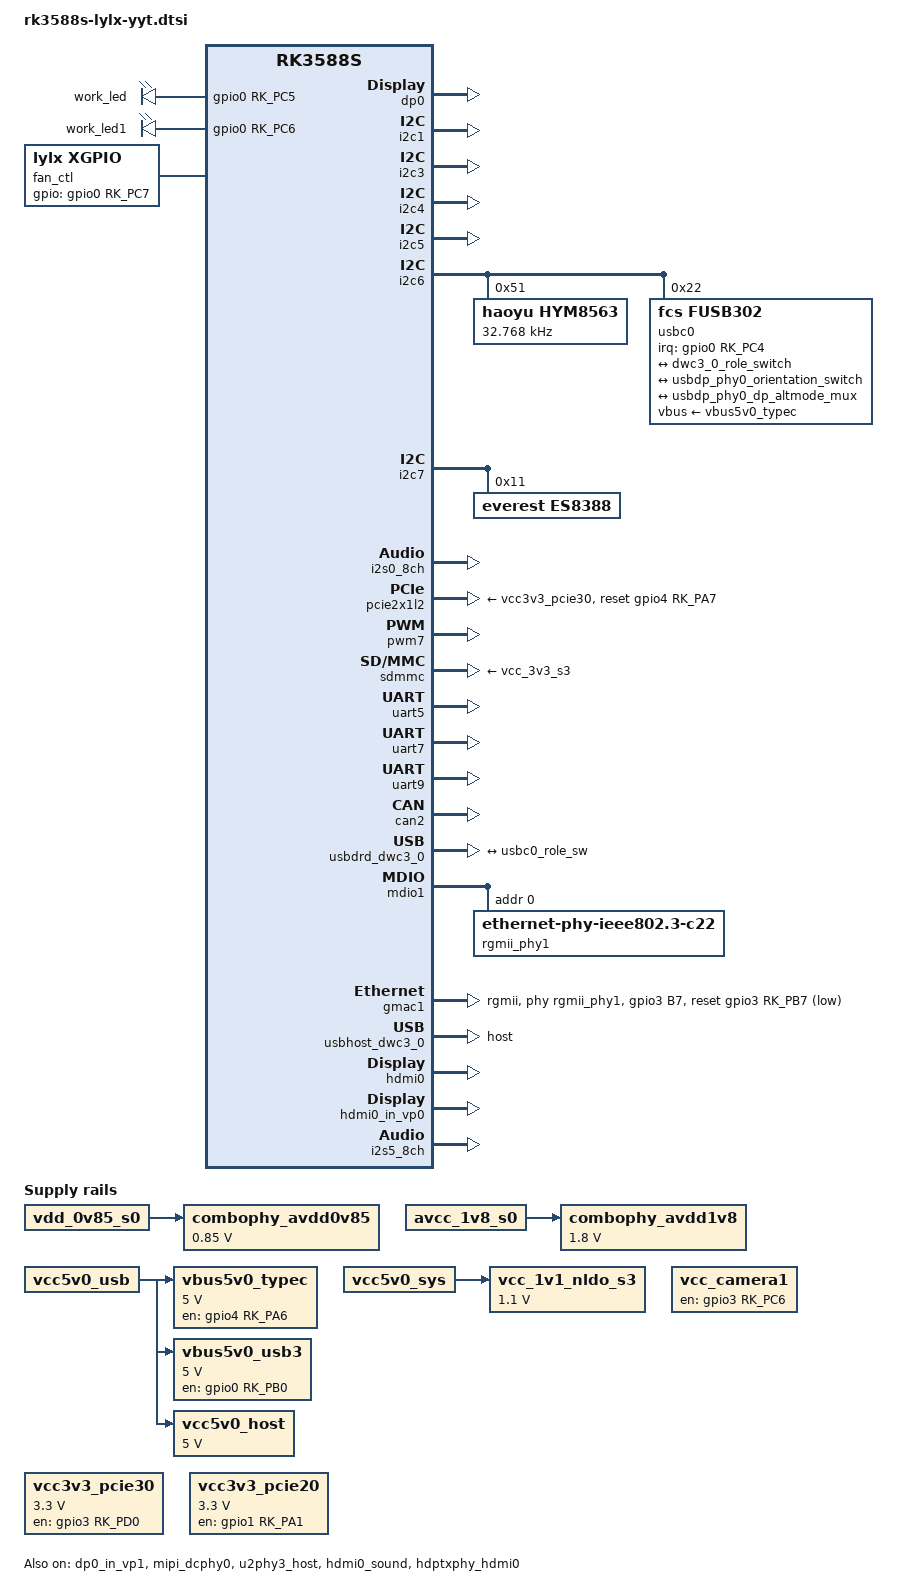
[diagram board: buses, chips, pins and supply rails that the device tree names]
// SPDX-License-Identifier: (GPL-2.0+ OR MIT)
/*
 * Copyright (c) 2021 Rockchip Electronics Co., Ltd.
 *
 */

#include "dt-bindings/usb/pd.h"
#include "rk3588s.dtsi"
#include "rk3588s-lylx-base.dtsi"
#include "rk3588s-lylx-rk806-single.dtsi"
//#include "rk3588s-vp3-mipi-dsi0-1024x768.dtsi"
#include "rk3588s-vp2-mipi-dsi1-1024x768.dtsi"
#include "rk3588s-YYT-camera.dtsi"
//#include "rk3588-rk628-hdmi2csi.dtsi"

#define USBHOST3_0 1


/ {
	vcc_camera1: vcc-camera1-regulator {
        compatible = "regulator-fixed";
        gpio = <&gpio3 RK_PC6 GPIO_ACTIVE_HIGH>;
        pinctrl-names = "default";
        pinctrl-0 = <&camera1_pwr>;
        regulator-name = "vcc_camera1";
        enable-active-high;
        regulator-always-on;
        regulator-boot-on;
        status = "okay";
    };

	combophy_avdd0v85: combophy-avdd0v85 {
		compatible = "regulator-fixed";
		regulator-name = "combophy_avdd0v85";
		regulator-boot-on;
		regulator-always-on;
		regulator-min-microvolt = <850000>;
		regulator-max-microvolt = <850000>;
		vin-supply = <&vdd_0v85_s0>;
	};

	combophy_avdd1v8: combophy-avdd1v8 {
		compatible = "regulator-fixed";
		regulator-name = "combophy_avdd1v8";
		regulator-boot-on;
		regulator-always-on;
		regulator-min-microvolt = <1800000>;
		regulator-max-microvolt = <1800000>;
		vin-supply = <&avcc_1v8_s0>;
	};

	es8388_sound: es8388-sound {
		status = "okay";
		compatible = "rockchip,multicodecs-card";
		rockchip,card-name = "rockchip,es8388-codec";
		//hp-det-gpio = <&gpio1 RK_PC0 GPIO_ACTIVE_HIGH>;
		//io-channels = <&saradc 3>;
		//io-channel-names = "adc-detect";
		//keyup-threshold-microvolt = <1800000>;
		//poll-interval = <100>;
		//spk-con-gpio = <&gpio4 RK_PA2 GPIO_ACTIVE_HIGH>;
		//hp-con-gpio = <&gpio4 RK_PA4 GPIO_ACTIVE_HIGH>;
		rockchip,format = "i2s";
		rockchip,mclk-fs = <256>;
		rockchip,cpu = <&i2s0_8ch>;
		rockchip,codec = <&es8388>;
		rockchip,audio-routing =
			"Headphone", "LOUT1",
			"Headphone", "ROUT1",
			"Speaker", "LOUT1",
			"Speaker", "ROUT1",
			"Headphone", "Headphone Power",
			"Headphone", "Headphone Power",
			"Speaker", "Speaker Power",
			"Speaker", "Speaker Power",
			"LINPUT1", "Main Mic",
			"LINPUT2", "Main Mic",
			"RINPUT1", "Main Mic",
			"RINPUT2", "Main Mic";
		/*
		pinctrl-names = "default";
		pinctrl-0 = <&hp_det>;
		
		play-pause-key {
			label = "playpause";
			linux,code = <KEY_PLAYPAUSE>;
			press-threshold-microvolt = <2000>;
		};
		*/
	};

	vbus5v0_typec: vbus5v0-typec {
		compatible = "regulator-fixed";
		regulator-name = "vbus5v0_typec";
		regulator-min-microvolt = <5000000>;
		regulator-max-microvolt = <5000000>;
		enable-active-high;
		gpio = <&gpio4 RK_PA6 GPIO_ACTIVE_HIGH>;
		vin-supply = <&vcc5v0_usb>;
		pinctrl-names = "default";
		pinctrl-0 = <&typec5v_pwren>;
	};

	vbus5v0_usb3: vbus5v0-usb3 {
		compatible = "regulator-fixed";
		regulator-name = "vbus5v0_usb3";
		regulator-min-microvolt = <5000000>;
		regulator-max-microvolt = <5000000>;
		enable-active-high;
		gpio = <&gpio0 RK_PB0 GPIO_ACTIVE_HIGH>;
		vin-supply = <&vcc5v0_usb>;
		pinctrl-names = "default";
		pinctrl-0 = <&usb3_5v_pwren>;
	};

	vcc5v0_host: vcc5v0-host {
		compatible = "regulator-fixed";
		regulator-name = "vcc5v0_host";
		regulator-boot-on;
		regulator-always-on;
		regulator-min-microvolt = <5000000>;
		regulator-max-microvolt = <5000000>;
		vin-supply = <&vcc5v0_usb>;
	};

	vcc_1v1_nldo_s3: vcc-1v1-nldo-s3 {
		compatible = "regulator-fixed";
		regulator-name = "vcc_1v1_nldo_s3";
		regulator-always-on;
		regulator-boot-on;
		regulator-min-microvolt = <1100000>;
		regulator-max-microvolt = <1100000>;
		vin-supply = <&vcc5v0_sys>;
	};
	
	vcc3v3_pcie30:vcc3v3-pcie30{
		compatible = "regulator-fixed";
		regulator-name = "vcc3v3_pcie30";
		enable-active-high;
		regulator-min-microvolt = <3300000>;
		regulator-max-microvolt = <3300000>;
		gpios = <&gpio3 RK_PD0 GPIO_ACTIVE_HIGH>;
		startup-delay-us = <5000>;
	};

	vcc3v3_pcie20:vcc3v3-pcie20{
		compatible = "regulator-fixed";
		regulator-name = "vcc3v3_pcie20";
		enable-active-high;
		regulator-min-microvolt = <3300000>;
		regulator-max-microvolt = <3300000>;
		gpios = <&gpio1 RK_PA1 GPIO_ACTIVE_HIGH>;
		startup-delay-us = <5000>;
	};
#if 0
	vcc_3v3_sd_s0: vcc-3v3-sd-s0 {
		compatible = "regulator-fixed";
		regulator-name = "vcc_3v3_sd_s0";
		regulator-min-microvolt = <3300000>;
		regulator-max-microvolt = <3300000>;
		gpios = <&gpio0 RK_PD4 GPIO_ACTIVE_LOW>;
		enable-active-low;
		vin-supply = <&vcc_3v3_s3>;
			regulator-state-mem {
			regulator-off-in-suspend;
		};
	};
#endif
	wireless_wlan: wireless-wlan {
		compatible = "wlan-platdata";
		wifi_chip_type = "rtl8822ce";
		status = "okay";
    };

    leds: leds {
        compatible = "gpio-leds";
        pinctrl-names = "default";
        pinctrl-0 = <&leds_pinctrl>;
        work_led: work {
            gpios = <&gpio0 RK_PC5 GPIO_ACTIVE_HIGH>;
            linux,default-trigger = "heartbeat";
        };
        work_led1:work1{
            gpios = <&gpio0 RK_PC6 GPIO_ACTIVE_HIGH>;
            linux,default-trigger = "heartbeat";
        };
    };

    fan_ctl{
        compatible = "lylx,xgpio";
        pinctrl-names = "default";
        pinctrl-0 = <&fan_gpio>;
        gpio = <&gpio0 RK_PC7 GPIO_ACTIVE_HIGH>;
        def_val = <1>;
        status = "okay";
    };
};

&dp0 {
	status = "okay";
};

&dp0_in_vp1 {
	status = "okay";
};

&i2c1{
	status = "okay";
	pinctrl-names = "default";
	pinctrl-0 = <&i2c1m4_xfer>;
};

&i2c3 {
	status = "okay";
	pinctrl-names = "default";
	pinctrl-0 = <&i2c3m2_xfer>;
};


&i2c4 {
        status = "okay";
        pinctrl-names = "default";
        pinctrl-0 = <&i2c4m3_xfer>;
};

&i2c5 {
    status = "okay";
    pinctrl-names = "default";
    pinctrl-0 = <&i2c5m3_xfer>;
};


&i2c6 {
        status = "okay";
        pinctrl-names = "default";
        pinctrl-0 = <&i2c6m3_xfer>;

        hym8563: hym8563@51 {
                compatible = "haoyu,hym8563";
                reg = <0x51>;
                #clock-cells = <0>;
                clock-frequency = <32768>;
                clock-output-names = "hym8563";
                status = "okay";
        };
        usbc0: fusb302@22 {
                compatible = "fcs,fusb302";
                reg = <0x22>;
                interrupt-parent = <&gpio0>;
                interrupts = <RK_PC4 IRQ_TYPE_LEVEL_LOW>;
                pinctrl-names = "default";
                pinctrl-0 = <&usbc0_int>;
                vbus-supply = <&vbus5v0_typec>;
                status = "okay";

            ports {
                    #address-cells = <1>;
                    #size-cells = <0>;

                    port@0 {
                            reg = <0>;
                            usbc0_role_sw: endpoint@0 {
                                    remote-endpoint = <&dwc3_0_role_switch>;
                            };
                    };
            };

            usb_con: connector {
                    compatible = "usb-c-connector";
                    label = "USB-C";
                    data-role = "dual";
                    power-role = "dual";
                    try-power-role = "sink";
                    op-sink-microwatt = <1000000>;
                    sink-pdos =
                            <PDO_FIXED(5000, 1000, PDO_FIXED_USB_COMM)>;
                    source-pdos =
                            <PDO_FIXED(5000, 3000, PDO_FIXED_USB_COMM)>;

                    altmodes {
                            #address-cells = <1>;
                            #size-cells = <0>;

                            altmode@0 {
                                    reg = <0>;
                                    svid = <0xff01>;
                                    vdo = <0xffffffff>;
                            };
                    };

                    ports {
                            #address-cells = <1>;
                            #size-cells = <0>;

                            port@0 {
                                    reg = <0>;
                                    usbc0_orien_sw: endpoint {
                                            remote-endpoint = <&usbdp_phy0_orientation_switch>;
                                    };
                            };

                            port@1 {
                                    reg = <1>;
                                    dp_altmode_mux: endpoint {
                                            remote-endpoint = <&usbdp_phy0_dp_altmode_mux>;
                                    };
                            };
                    };
            };
    };
};

&i2c7 {
	status = "okay";
	pinctrl-names = "default";
	pinctrl-0 = <&i2c7m0_xfer>;

	es8388: es8388@11 {
		status = "okay";
		#sound-dai-cells = <0>;
		compatible = "everest,es8388", "everest,es8323";
		reg = <0x11>;
		clocks = <&cru I2S0_8CH_MCLKOUT>;
		clock-names = "mclk";
		assigned-clocks = <&cru I2S0_8CH_MCLKOUT>;
		assigned-clock-rates = <12288000>;
		pinctrl-names = "default";
		pinctrl-0 = <&i2s0_mclk>;
	};
};

&mipi_dcphy0 {
	status = "okay";
};

&i2s0_8ch {
	status = "okay";
	rockchip,clk-trcm = <1>;
	pinctrl-0 = <&i2s0_lrck
		     &i2s0_sclk
		     &i2s0_sdi0
		     &i2s0_sdo0>;
};

&pcie2x1l2 {
	reset-gpios = <&gpio4 RK_PA7 GPIO_ACTIVE_HIGH>;
	vpcie3v3-supply = <&vcc3v3_pcie30>;
	rockchip,skip-scan-in-resume;
	status = "okay";
};

&pinctrl {

	headphone {
		hp_det: hp-det {
			rockchip,pins = <1 RK_PC0 RK_FUNC_GPIO &pcfg_pull_none>;
		};
	};

	usb-typec {
		usbc0_int: usbc0-int {
                        rockchip,pins = <0 RK_PC4 RK_FUNC_GPIO &pcfg_pull_up>;
		};

		typec5v_pwren: typec5v-pwren {
                        rockchip,pins = <4 RK_PA6 RK_FUNC_GPIO &pcfg_pull_none>;
		};

		usb3_5v_pwren:usb3_5v-pwren{
			rockchip,pins = <0 RK_PB0 RK_FUNC_GPIO &pcfg_pull_none>;
		};

	};

	eth1{
		eth1_reset_pins:eth1_reset-pins{
			rockchip,pins = <3 RK_PB7 RK_FUNC_GPIO &pcfg_pull_none>;

		};
	};

	leds{
		leds_pinctrl:leds-pinctrl{
			rockchip,pins = <0 RK_PC5 RK_FUNC_GPIO &pcfg_pull_up>,
				<0 RK_PC6 RK_FUNC_GPIO &pcfg_pull_up>;
		};
	};

	gpios{
		gpios_pinctrl:gpios-pinctrl{
			rockchip,pins = <1 RK_PA6 RK_FUNC_GPIO &pcfg_pull_up>,
				<1 RK_PA4 RK_FUNC_GPIO &pcfg_pull_up>,
				<1 RK_PA7 RK_FUNC_GPIO &pcfg_pull_up>,
				<1 RK_PB1 RK_FUNC_GPIO &pcfg_pull_up>,
				<1 RK_PD5 RK_FUNC_GPIO &pcfg_pull_up>,
				<0 RK_PA0 RK_FUNC_GPIO &pcfg_pull_up>;
		};
	};
	camera{

		camera1_pwr: camera1-pwr {
        	rockchip,pins =
	            /* camera power en */
	            <3 RK_PC6 RK_FUNC_GPIO &pcfg_pull_none>;
        };
	};

	fan{
		fan_gpio:fan-gpio{
			rockchip,pins =
	            /* camera power en */
	            <0 RK_PC7 RK_FUNC_GPIO &pcfg_pull_none>;
		};
	};
};


&pwm7 {
	compatible = "rockchip,remotectl-pwm";
	pinctrl-names = "default";
	pinctrl-0 = <&pwm7m0_pins>;
	remote_pwm_id = <3>;
	handle_cpu_id = <1>;
	remote_support_psci = <0>;
	status = "okay";

	ir_key1 {
        rockchip,usercode = <0x4040>;
        rockchip,key_table =
            <0xf2   KEY_REPLY>,
            <0xba   KEY_BACK>,
            <0xf4   KEY_UP>,
            <0xf1   KEY_DOWN>,
            <0xef   KEY_LEFT>,
            <0xee   KEY_RIGHT>,
            <0xbd   KEY_HOME>,
            <0xea   KEY_VOLUMEUP>,
            <0xe3   KEY_VOLUMEDOWN>,
            <0xe2   KEY_SEARCH>,
            <0xb2   KEY_POWER>,
            <0xbc   KEY_MUTE>,
            <0xec   KEY_MENU>,
            <0xbf   0x190>,
            <0xe0   0x191>,
            <0xe1   0x192>,
            <0xe9   183>,
            <0xe6   248>,
            <0xe8   185>,
            <0xe7   186>,
            <0xf0   388>,
            <0xbe   0x175>;
    };

	ir_key2 {
        rockchip,usercode = <0xff00>;
        rockchip,key_table =
            <0xba   KEY_CHANNELDOWN>,
            <0x74   KEY_CHANNELDOWN>,
            <0xb9   KEY_CHANNEL>,
            <0x72   KEY_CHANNEL>,
            <0xb8   KEY_CHANNELUP>,
            <0x70   KEY_CHANNELUP>,
            <0x60   KEY_CHANNELUP>,
            <0xbb   KEY_PREVIOUSSONG>,
            <0x76   KEY_PREVIOUSSONG>,
            <0xbf   KEY_NEXTSONG>,
            <0xbc   KEY_PLAYPAUSE>,
            <0x3c   KEY_PLAYPAUSE>,
            <0x4c   KEY_PLAYPAUSE>,
            <0xf8   KEY_VOLUMEDOWN>,
            <0xf0   KEY_VOLUMEDOWN>,
            <0xea   KEY_VOLUMEUP>,
            <0xd4   KEY_VOLUMEUP>,
            <0xf6   KEY_EQUAL>,
            <0xec   KEY_EQUAL>,
            <0xe9   KEY_0>,
            <0xf3   KEY_1>,
            <0x73   KEY_1>,
            <0xe7   KEY_2>,
            <0xa1   KEY_3>,
            <0x42   KEY_3>,
            <0xf7   KEY_4>,
            <0xe3   KEY_5>,
            <0xc6   KEY_5>,
            <0xa5   KEY_6>,
            <0x4a   KEY_6>,
            <0xbd   KEY_7>,
            <0xad   KEY_8>,
            <0xb5   KEY_9>,
            <0xe6   KEY_LEFTSHIFT>,
            <0x66   KEY_LEFTSHIFT>,
            <0xcc   KEY_LEFTSHIFT>,
            <0xf2   KEY_RIGHTSHIFT>,
            <0xe4   KEY_RIGHTSHIFT>;
	};

	ir_key3 {
        rockchip,usercode = <0x1dcc>;
        rockchip,key_table =
            <0xee   KEY_REPLY>,
            <0xf0   KEY_BACK>,
            <0xf8   KEY_UP>,
            <0xbb   KEY_DOWN>,
            <0xef   KEY_LEFT>,
            <0xed   KEY_RIGHT>,
            <0xfc   KEY_HOME>,
            <0xf1   KEY_VOLUMEUP>,
            <0xfd   KEY_VOLUMEDOWN>,
            <0xb7   KEY_SEARCH>,
            <0xff   KEY_POWER>,
            <0xf3   KEY_MUTE>,
            <0xbf   KEY_MENU>,
            <0xf9   0x191>,
            <0xf5   0x192>,
            <0xb3   388>,
            <0xbe   KEY_1>,
            <0xba   KEY_2>,
            <0xb2   KEY_3>,
            <0xbd   KEY_4>,
            <0xf9   KEY_5>,
            <0xb1   KEY_6>,
            <0xfc   KEY_7>,
            <0xf8   KEY_8>,
            <0xb0   KEY_9>,
            <0xb6   KEY_0>,
            <0xb5   KEY_BACKSPACE>;
    };
};

&sdmmc {
	status = "okay";
	vmmc-supply = <&vcc_3v3_s3>;
};

&u2phy0_otg {
	rockchip,typec-vbus-det;
};

&u2phy2_host {
	phy-supply = <&vcc5v0_host>;
};

&u2phy3_host {
	phy-supply = <&vcc5v0_host>;
};

&uart5{
	status = "okay";
    pinctrl-names = "default";
    pinctrl-0 = <&uart5m1_xfer>;
};

&uart7{
	status = "okay";
    pinctrl-names = "default";
    pinctrl-0 = <&uart7m1_xfer>;
};

&uart9 {
    status = "okay";
    pinctrl-names = "default";
    pinctrl-0 = <&uart9m2_xfer>;
};

&can2{
	status = "okay";
	pinctrl-names = "default";
    pinctrl-0 = <&can2m1_pins>;
};

&usbdp_phy0 {
	orientation-switch;
	svid = <0xff01>;
	sbu1-dc-gpios = <&gpio4 RK_PA0 GPIO_ACTIVE_HIGH>;
	sbu2-dc-gpios = <&gpio4 RK_PA1 GPIO_ACTIVE_HIGH>;

	port {
		#address-cells = <1>;
		#size-cells = <0>;
		usbdp_phy0_orientation_switch: endpoint@0 {
			reg = <0>;
			remote-endpoint = <&usbc0_orien_sw>;
		};

		usbdp_phy0_dp_altmode_mux: endpoint@1 {
			reg = <1>;
			remote-endpoint = <&dp_altmode_mux>;
		};
	};
};

&usbdrd_dwc3_0 {
	usb-role-switch;
	port {
		#address-cells = <1>;
		#size-cells = <0>;
		dwc3_0_role_switch: endpoint@0 {
			reg = <0>;
			remote-endpoint = <&usbc0_role_sw>;
		};
	};
};

&mdio1 {
    rgmii_phy1: phy@0 {
        compatible = "ethernet-phy-ieee802.3-c22";
        reg = <0x0>;
    };
};

&gmac1 {
    /* Use rgmii-rxid mode to disable rx delay inside Soc */
    phy-mode = "rgmii";
    clock_in_out = "input";

    snps,reset-gpio = <&gpio3 RK_PB7 GPIO_ACTIVE_LOW>;
    snps,reset-active-high;
    /* Reset time is 20ms, 100ms for rtl8211f */
    snps,reset-delays-us = <0 20000 100000>;

    pinctrl-names = "default";
    pinctrl-0 = <&gmac1_miim
             &gmac1_tx_bus2
             &gmac1_rx_bus2
             &gmac1_rgmii_clk
             &gmac1_rgmii_bus
             &gmac1_clkinout
             &eth1_reset_pins>;

    tx_delay = <0x44>;
    rx_delay = <0x4f>;

    phy-handle = <&rgmii_phy1>;
    status = "okay";
};

#if USBHOST3_0

&u2phy3_host {
    phy-supply = <&vbus5v0_usb3>;
    status = "okay";
};

&usbhost_dwc3_0 {
    dr_mode = "host";
    status = "okay";
};

#else

&sata2{
	status = "okay";
	pedet-gpios = <&gpio1 RK_PA6 GPIO_ACTIVE_LOW>;
	assigned-clock-rates = <100000000>;
};

&pcie2x1l1 {
    reset-gpios = <&gpio1 RK_PB0 GPIO_ACTIVE_HIGH>;
    pedet-gpios = <&gpio1 RK_PA6 GPIO_ACTIVE_HIGH>;
    vpcie3v3-supply = <&vcc3v3_pcie20>;
    rockchip,skip-scan-in-resume;
    status = "okay";
};
#endif

&hdmi0 {
    enable-gpios = <&gpio4 RK_PB6 GPIO_ACTIVE_HIGH>;
    status = "okay";
};

&hdmi0_in_vp0 {
    status = "okay";
};

&hdmi0_sound {
    status = "okay";
};

&hdptxphy_hdmi0 {
    status = "okay";
};

&i2s5_8ch {
    status = "okay";
};


